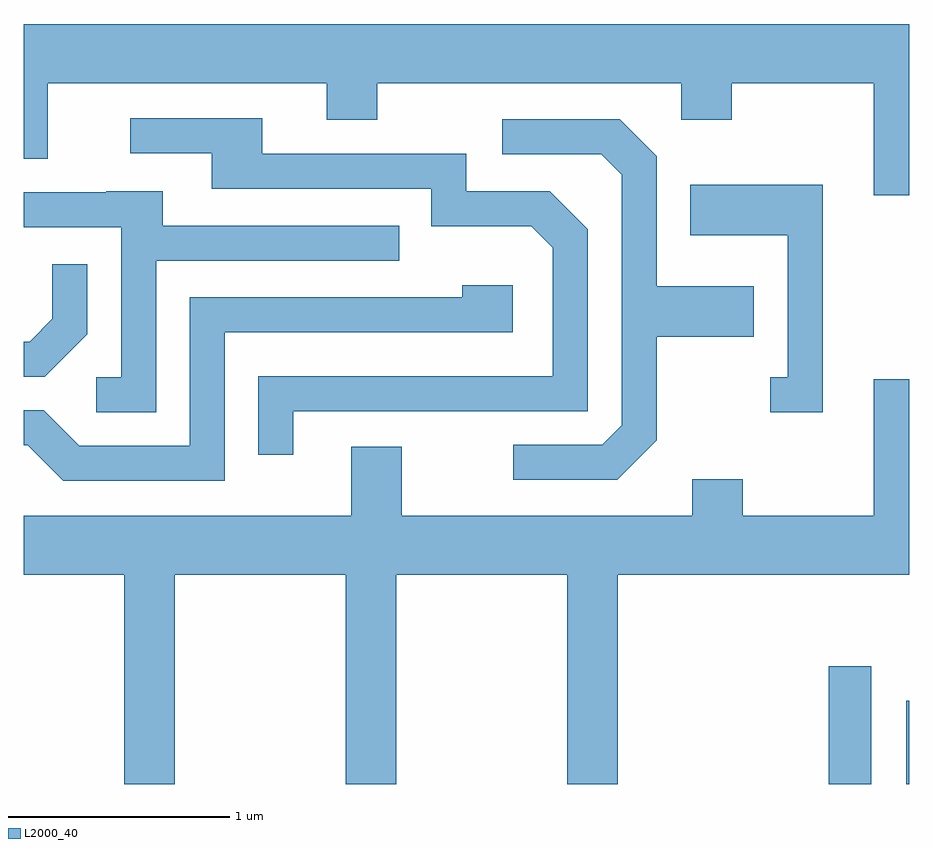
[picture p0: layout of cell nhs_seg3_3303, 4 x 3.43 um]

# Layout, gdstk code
import gdstk
lib = gdstk.Library(unit=1e-6, precision=1e-09)
def R(c, l, rs):  # rectangles x0, y0, x1, y1
    for r in rs: c.add(gdstk.rectangle(r[:2], r[2:], *l))
def P(c, l, *ps):  # polygons
    for p in ps: c.add(gdstk.Polygon(p, *l))
L2000_40 = (2000, 40)

nhs_seg3_3303 = lib.new_cell('nhs_seg3_3303')
R(nhs_seg3_3303, L2000_40, [(285.246,1193.892,285.439,1194.424), (285.596,1193.892,285.611,1194.269)])
P(nhs_seg3_3303, L2000_40, [(285.611,1197.324),(281.611,1197.324),(281.611,1196.716),(281.719,1196.716),(281.719,1197.056),(282.981,1197.056),(282.981,1196.891),(283.209,1196.891),(283.209,1197.056),(284.581,1197.056),(284.581,1196.891),(284.809,1196.891),(284.809,1197.056),(285.451,1197.056),(285.451,1196.551),(285.611,1196.551)],
  [(282.829,1195.576),(284.159,1195.576),(284.159,1196.397),(283.987,1196.569),(283.609,1196.569),(283.609,1196.739),(282.689,1196.739),(282.689,1196.899),(282.093,1196.899),(282.093,1196.741),(282.461,1196.741),(282.461,1196.581),(283.451,1196.581),(283.451,1196.411),(283.904,1196.411),(284.001,1196.314),(284.001,1195.734),(282.671,1195.734),(282.671,1195.378),(282.829,1195.378)],
  [(284.469,1195.444),(284.469,1195.911),(284.909,1195.911),(284.909,1196.139),(284.469,1196.139),(284.469,1196.727),(284.302,1196.894),(283.773,1196.894),(283.773,1196.736),(284.219,1196.736),(284.311,1196.644),(284.311,1195.512),(284.224,1195.424),(283.823,1195.424),(283.823,1195.266),(284.292,1195.266)],
  [(285.219,1196.599),(284.621,1196.599),(284.621,1196.371),(285.061,1196.371),(285.061,1195.729),(284.983,1195.729),(284.983,1195.571),(285.219,1195.571)],
  [(282.209,1196.256),(283.308,1196.256),(283.308,1196.414),(282.239,1196.414),(282.239,1196.569),(281.985,1196.569),(281.985,1196.564),(281.611,1196.564),(281.611,1196.406),(282.051,1196.406),(282.051,1195.729),(281.938,1195.729),(281.938,1195.571),(282.209,1195.571)],
  [(281.899,1195.924),(281.899,1196.238),(281.741,1196.238),(281.741,1195.992),(281.639,1195.889),(281.611,1195.889),(281.611,1195.731),(281.707,1195.731)],
  [(282.519,1195.931),(283.819,1195.931),(283.819,1196.144),(283.591,1196.144),(283.591,1196.089),(282.361,1196.089),(282.361,1195.419),(281.862,1195.419),(281.702,1195.579),(281.611,1195.579),(281.611,1195.421),(281.629,1195.421),(281.789,1195.261),(282.519,1195.261)],
  [(282.294,1194.836),(283.066,1194.836),(283.066,1193.892),(283.294,1193.892),(283.294,1194.836),(284.066,1194.836),(284.066,1193.892),(284.294,1193.892),(284.294,1194.836),(285.611,1194.836),(285.611,1195.719),(285.451,1195.719),(285.451,1195.104),(284.859,1195.104),(284.859,1195.269),(284.631,1195.269),(284.631,1195.104),(283.319,1195.104),(283.319,1195.414),(283.091,1195.414),(283.091,1195.104),(281.611,1195.104),(281.611,1194.836),(282.066,1194.836),(282.066,1193.892),(282.294,1193.892)])

lib.write_gds('nhs_seg3_3303.gds')
